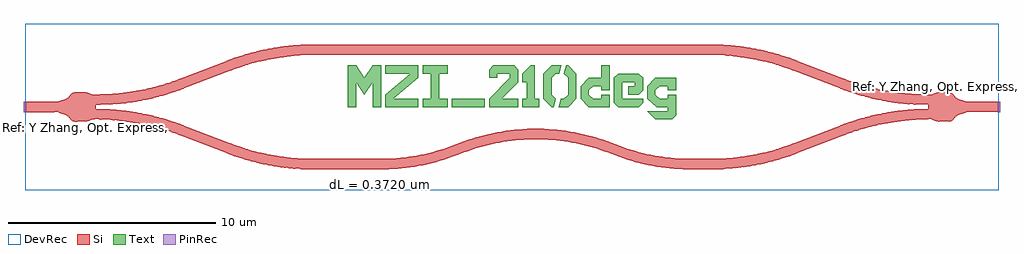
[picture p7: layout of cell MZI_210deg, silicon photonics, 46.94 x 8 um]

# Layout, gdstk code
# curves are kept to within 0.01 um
import gdstk
lib = gdstk.Library(unit=1e-6, precision=1e-09)
def R(c, l, rs):  # rectangles x0, y0, x1, y1
    for r in rs: c.add(gdstk.rectangle(r[:2], r[2:], *l))
def P(c, l, *ps):  # polygons
    for p in ps: c.add(gdstk.Polygon(p, *l))
Si = (1, 0)
PinRec = (1, 10)
Text = (10, 0)
DevRec = (68, 0)

optical_port1 = lib.new_cell('optical_port1')
optical_port1.add(gdstk.FlexPath([(0.05,0),(-0.05,0)], 0.5, ends="flush", simple_path=True, layer=1, datatype=10))  # PinRec
optical_port1.add(gdstk.FlexPath([(0.05,0),(-0.05,0)], 0.5, ends="flush", simple_path=True, layer=1, datatype=10))  # PinRec
optical_port1.add(gdstk.FlexPath([(0.05,0),(-0.05,0)], 0.5, ends="flush", simple_path=True, layer=1, datatype=10))  # PinRec
optical_port1.add(gdstk.FlexPath([(0.05,0),(-0.05,0)], 0.5, ends="flush", simple_path=True, layer=1, datatype=10))  # PinRec
optical_port1.add(gdstk.FlexPath([(0.05,0),(-0.05,0)], 0.5, ends="flush", simple_path=True, layer=1, datatype=10))  # PinRec
optical_port1.add(gdstk.FlexPath([(0.05,0),(-0.05,0)], 0.5, ends="flush", simple_path=True, layer=1, datatype=10))  # PinRec
optical_port1.add(gdstk.FlexPath([(0.05,0),(-0.05,0)], 0.5, ends="flush", simple_path=True, layer=1, datatype=10))  # PinRec
optical_port1.add(gdstk.FlexPath([(0.05,0),(-0.05,0)], 0.5, ends="flush", simple_path=True, layer=1, datatype=10))  # PinRec
optical_port1.add(gdstk.FlexPath([(0.05,0),(-0.05,0)], 0.5, ends="flush", simple_path=True, layer=1, datatype=10))  # PinRec
optical_port1.add(gdstk.FlexPath([(0.05,0),(-0.05,0)], 0.5, ends="flush", simple_path=True, layer=1, datatype=10))  # PinRec
optical_port1.add(gdstk.FlexPath([(0.05,0),(-0.05,0)], 0.5, ends="flush", simple_path=True, layer=1, datatype=10))  # PinRec
optical_port1.add(gdstk.FlexPath([(0.05,0),(-0.05,0)], 0.5, ends="flush", simple_path=True, layer=1, datatype=10))  # PinRec
optical_port1.add(gdstk.FlexPath([(0.05,0),(-0.05,0)], 0.5, ends="flush", simple_path=True, layer=1, datatype=10))  # PinRec
optical_port1.add(gdstk.FlexPath([(0.05,0),(-0.05,0)], 0.5, ends="flush", simple_path=True, layer=1, datatype=10))  # PinRec
optical_port1.add(gdstk.FlexPath([(0.05,0),(-0.05,0)], 0.5, ends="flush", simple_path=True, layer=1, datatype=10))  # PinRec
optical_port1.add(gdstk.FlexPath([(0.05,0),(-0.05,0)], 0.5, ends="flush", simple_path=True, layer=1, datatype=10))  # PinRec
optical_port1.add(gdstk.FlexPath([(0.05,0),(-0.05,0)], 0.5, ends="flush", simple_path=True, layer=1, datatype=10))  # PinRec
optical_port1.add(gdstk.FlexPath([(0.05,0),(-0.05,0)], 0.5, ends="flush", simple_path=True, layer=1, datatype=10))  # PinRec
optical_port1.add(gdstk.FlexPath([(0.05,0),(-0.05,0)], 0.5, ends="flush", simple_path=True, layer=1, datatype=10))  # PinRec
optical_port1.add(gdstk.FlexPath([(0.05,0),(-0.05,0)], 0.5, ends="flush", simple_path=True, layer=1, datatype=10))  # PinRec
optical_port1.add(gdstk.FlexPath([(0.05,0),(-0.05,0)], 0.5, ends="flush", simple_path=True, layer=1, datatype=10))  # PinRec
optical_port1.add(gdstk.FlexPath([(0.05,0),(-0.05,0)], 0.5, ends="flush", simple_path=True, layer=1, datatype=10))  # PinRec
optical_port1.add(gdstk.FlexPath([(0.05,0),(-0.05,0)], 0.5, ends="flush", simple_path=True, layer=1, datatype=10))  # PinRec
optical_port1.add(gdstk.FlexPath([(0.05,0),(-0.05,0)], 0.5, ends="flush", simple_path=True, layer=1, datatype=10))  # PinRec
optical_port1.add(gdstk.FlexPath([(0.05,0),(-0.05,0)], 0.5, ends="flush", simple_path=True, layer=1, datatype=10))  # PinRec
optical_port1.add(gdstk.FlexPath([(0.05,0),(-0.05,0)], 0.5, ends="flush", simple_path=True, layer=1, datatype=10))  # PinRec
optical_port1.add(gdstk.FlexPath([(0.05,0),(-0.05,0)], 0.5, ends="flush", simple_path=True, layer=1, datatype=10))  # PinRec
optical_port1.add(gdstk.FlexPath([(0.05,0),(-0.05,0)], 0.5, ends="flush", simple_path=True, layer=1, datatype=10))  # PinRec
optical_port1.add(gdstk.FlexPath([(0.05,0),(-0.05,0)], 0.5, ends="flush", simple_path=True, layer=1, datatype=10))  # PinRec
optical_port1.add(gdstk.FlexPath([(0.05,0),(-0.05,0)], 0.5, ends="flush", simple_path=True, layer=1, datatype=10))  # PinRec
optical_port1.add(gdstk.FlexPath([(0.05,0),(-0.05,0)], 0.5, ends="flush", simple_path=True, layer=1, datatype=10))  # PinRec
optical_port1.add(gdstk.FlexPath([(0.05,0),(-0.05,0)], 0.5, ends="flush", simple_path=True, layer=1, datatype=10))  # PinRec
optical_port1.add(gdstk.FlexPath([(0.05,0),(-0.05,0)], 0.5, ends="flush", simple_path=True, layer=1, datatype=10))  # PinRec
optical_port1.add(gdstk.FlexPath([(0.05,0),(-0.05,0)], 0.5, ends="flush", simple_path=True, layer=1, datatype=10))  # PinRec
optical_port1.add(gdstk.FlexPath([(0.05,0),(-0.05,0)], 0.5, ends="flush", simple_path=True, layer=1, datatype=10))  # PinRec
optical_port1.add(gdstk.FlexPath([(0.05,0),(-0.05,0)], 0.5, ends="flush", simple_path=True, layer=1, datatype=10))  # PinRec
optical_port1.add(gdstk.FlexPath([(0.05,0),(-0.05,0)], 0.5, ends="flush", simple_path=True, layer=1, datatype=10))  # PinRec
optical_port1.add(gdstk.Label('o1', (0,0), layer=1, texttype=10))
optical_port1.add(gdstk.Label('o1', (0,0), layer=1, texttype=10))
optical_port1.add(gdstk.Label('o1', (0,0), layer=1, texttype=10))
optical_port1.add(gdstk.Label('o1', (0,0), layer=1, texttype=10))
optical_port1.add(gdstk.Label('o1', (0,0), layer=1, texttype=10))
optical_port1.add(gdstk.Label('o1', (0,0), layer=1, texttype=10))
optical_port1.add(gdstk.Label('o1', (0,0), layer=1, texttype=10))
optical_port1.add(gdstk.Label('o1', (0,0), layer=1, texttype=10))
optical_port1.add(gdstk.Label('o1', (0,0), layer=1, texttype=10))
optical_port1.add(gdstk.Label('o1', (0,0), layer=1, texttype=10))
optical_port1.add(gdstk.Label('o1', (0,0), layer=1, texttype=10))
optical_port1.add(gdstk.Label('o1', (0,0), layer=1, texttype=10))
optical_port1.add(gdstk.Label('o1', (0,0), layer=1, texttype=10))
optical_port1.add(gdstk.Label('o1', (0,0), layer=1, texttype=10))
optical_port1.add(gdstk.Label('o1', (0,0), layer=1, texttype=10))
optical_port1.add(gdstk.Label('o1', (0,0), layer=1, texttype=10))
optical_port1.add(gdstk.Label('o1', (0,0), layer=1, texttype=10))
optical_port1.add(gdstk.Label('o1', (0,0), layer=1, texttype=10))
optical_port1.add(gdstk.Label('o1', (0,0), layer=1, texttype=10))
optical_port1.add(gdstk.Label('o1', (0,0), layer=1, texttype=10))
optical_port1.add(gdstk.Label('o1', (0,0), layer=1, texttype=10))
optical_port1.add(gdstk.Label('o1', (0,0), layer=1, texttype=10))
optical_port1.add(gdstk.Label('o1', (0,0), layer=1, texttype=10))
optical_port1.add(gdstk.Label('o1', (0,0), layer=1, texttype=10))
optical_port1.add(gdstk.Label('o1', (0,0), layer=1, texttype=10))
optical_port1.add(gdstk.Label('o1', (0,0), layer=1, texttype=10))
optical_port1.add(gdstk.Label('o1', (0,0), layer=1, texttype=10))
optical_port1.add(gdstk.Label('o1', (0,0), layer=1, texttype=10))
optical_port1.add(gdstk.Label('o1', (0,0), layer=1, texttype=10))
optical_port1.add(gdstk.Label('o1', (0,0), layer=1, texttype=10))
optical_port1.add(gdstk.Label('o1', (0,0), layer=1, texttype=10))
optical_port1.add(gdstk.Label('o1', (0,0), layer=1, texttype=10))
optical_port1.add(gdstk.Label('o1', (0,0), layer=1, texttype=10))
optical_port1.add(gdstk.Label('o1', (0,0), layer=1, texttype=10))
optical_port1.add(gdstk.Label('o1', (0,0), layer=1, texttype=10))
optical_port1.add(gdstk.Label('o1', (0,0), layer=1, texttype=10))
optical_port1.add(gdstk.Label('o1', (0,0), layer=1, texttype=10))

optical_port2 = lib.new_cell('optical_port2')
optical_port2.add(gdstk.FlexPath([(-0.05,0),(0.05,0)], 0.5, ends="flush", simple_path=True, layer=1, datatype=10))  # PinRec
optical_port2.add(gdstk.FlexPath([(-0.05,0),(0.05,0)], 0.5, ends="flush", simple_path=True, layer=1, datatype=10))  # PinRec
optical_port2.add(gdstk.FlexPath([(-0.05,0),(0.05,0)], 0.5, ends="flush", simple_path=True, layer=1, datatype=10))  # PinRec
optical_port2.add(gdstk.FlexPath([(-0.05,0),(0.05,0)], 0.5, ends="flush", simple_path=True, layer=1, datatype=10))  # PinRec
optical_port2.add(gdstk.FlexPath([(-0.05,0),(0.05,0)], 0.5, ends="flush", simple_path=True, layer=1, datatype=10))  # PinRec
optical_port2.add(gdstk.FlexPath([(-0.05,0),(0.05,0)], 0.5, ends="flush", simple_path=True, layer=1, datatype=10))  # PinRec
optical_port2.add(gdstk.FlexPath([(-0.05,0),(0.05,0)], 0.5, ends="flush", simple_path=True, layer=1, datatype=10))  # PinRec
optical_port2.add(gdstk.FlexPath([(-0.05,0),(0.05,0)], 0.5, ends="flush", simple_path=True, layer=1, datatype=10))  # PinRec
optical_port2.add(gdstk.FlexPath([(-0.05,0),(0.05,0)], 0.5, ends="flush", simple_path=True, layer=1, datatype=10))  # PinRec
optical_port2.add(gdstk.FlexPath([(-0.05,0),(0.05,0)], 0.5, ends="flush", simple_path=True, layer=1, datatype=10))  # PinRec
optical_port2.add(gdstk.FlexPath([(-0.05,0),(0.05,0)], 0.5, ends="flush", simple_path=True, layer=1, datatype=10))  # PinRec
optical_port2.add(gdstk.FlexPath([(-0.05,0),(0.05,0)], 0.5, ends="flush", simple_path=True, layer=1, datatype=10))  # PinRec
optical_port2.add(gdstk.FlexPath([(-0.05,0),(0.05,0)], 0.5, ends="flush", simple_path=True, layer=1, datatype=10))  # PinRec
optical_port2.add(gdstk.FlexPath([(-0.05,0),(0.05,0)], 0.5, ends="flush", simple_path=True, layer=1, datatype=10))  # PinRec
optical_port2.add(gdstk.FlexPath([(-0.05,0),(0.05,0)], 0.5, ends="flush", simple_path=True, layer=1, datatype=10))  # PinRec
optical_port2.add(gdstk.FlexPath([(-0.05,0),(0.05,0)], 0.5, ends="flush", simple_path=True, layer=1, datatype=10))  # PinRec
optical_port2.add(gdstk.FlexPath([(-0.05,0),(0.05,0)], 0.5, ends="flush", simple_path=True, layer=1, datatype=10))  # PinRec
optical_port2.add(gdstk.FlexPath([(-0.05,0),(0.05,0)], 0.5, ends="flush", simple_path=True, layer=1, datatype=10))  # PinRec
optical_port2.add(gdstk.FlexPath([(-0.05,0),(0.05,0)], 0.5, ends="flush", simple_path=True, layer=1, datatype=10))  # PinRec
optical_port2.add(gdstk.FlexPath([(-0.05,0),(0.05,0)], 0.5, ends="flush", simple_path=True, layer=1, datatype=10))  # PinRec
optical_port2.add(gdstk.FlexPath([(-0.05,0),(0.05,0)], 0.5, ends="flush", simple_path=True, layer=1, datatype=10))  # PinRec
optical_port2.add(gdstk.FlexPath([(-0.05,0),(0.05,0)], 0.5, ends="flush", simple_path=True, layer=1, datatype=10))  # PinRec
optical_port2.add(gdstk.FlexPath([(-0.05,0),(0.05,0)], 0.5, ends="flush", simple_path=True, layer=1, datatype=10))  # PinRec
optical_port2.add(gdstk.FlexPath([(-0.05,0),(0.05,0)], 0.5, ends="flush", simple_path=True, layer=1, datatype=10))  # PinRec
optical_port2.add(gdstk.FlexPath([(-0.05,0),(0.05,0)], 0.5, ends="flush", simple_path=True, layer=1, datatype=10))  # PinRec
optical_port2.add(gdstk.FlexPath([(-0.05,0),(0.05,0)], 0.5, ends="flush", simple_path=True, layer=1, datatype=10))  # PinRec
optical_port2.add(gdstk.FlexPath([(-0.05,0),(0.05,0)], 0.5, ends="flush", simple_path=True, layer=1, datatype=10))  # PinRec
optical_port2.add(gdstk.FlexPath([(-0.05,0),(0.05,0)], 0.5, ends="flush", simple_path=True, layer=1, datatype=10))  # PinRec
optical_port2.add(gdstk.FlexPath([(-0.05,0),(0.05,0)], 0.5, ends="flush", simple_path=True, layer=1, datatype=10))  # PinRec
optical_port2.add(gdstk.FlexPath([(-0.05,0),(0.05,0)], 0.5, ends="flush", simple_path=True, layer=1, datatype=10))  # PinRec
optical_port2.add(gdstk.FlexPath([(-0.05,0),(0.05,0)], 0.5, ends="flush", simple_path=True, layer=1, datatype=10))  # PinRec
optical_port2.add(gdstk.FlexPath([(-0.05,0),(0.05,0)], 0.5, ends="flush", simple_path=True, layer=1, datatype=10))  # PinRec
optical_port2.add(gdstk.FlexPath([(-0.05,0),(0.05,0)], 0.5, ends="flush", simple_path=True, layer=1, datatype=10))  # PinRec
optical_port2.add(gdstk.FlexPath([(-0.05,0),(0.05,0)], 0.5, ends="flush", simple_path=True, layer=1, datatype=10))  # PinRec
optical_port2.add(gdstk.FlexPath([(-0.05,0),(0.05,0)], 0.5, ends="flush", simple_path=True, layer=1, datatype=10))  # PinRec
optical_port2.add(gdstk.FlexPath([(-0.05,0),(0.05,0)], 0.5, ends="flush", simple_path=True, layer=1, datatype=10))  # PinRec
optical_port2.add(gdstk.FlexPath([(-0.05,0),(0.05,0)], 0.5, ends="flush", simple_path=True, layer=1, datatype=10))  # PinRec
optical_port2.add(gdstk.Label('o2', (0,0), layer=1, texttype=10))
optical_port2.add(gdstk.Label('o2', (0,0), layer=1, texttype=10))
optical_port2.add(gdstk.Label('o2', (0,0), layer=1, texttype=10))
optical_port2.add(gdstk.Label('o2', (0,0), layer=1, texttype=10))
optical_port2.add(gdstk.Label('o2', (0,0), layer=1, texttype=10))
optical_port2.add(gdstk.Label('o2', (0,0), layer=1, texttype=10))
optical_port2.add(gdstk.Label('o2', (0,0), layer=1, texttype=10))
optical_port2.add(gdstk.Label('o2', (0,0), layer=1, texttype=10))
optical_port2.add(gdstk.Label('o2', (0,0), layer=1, texttype=10))
optical_port2.add(gdstk.Label('o2', (0,0), layer=1, texttype=10))
optical_port2.add(gdstk.Label('o2', (0,0), layer=1, texttype=10))
optical_port2.add(gdstk.Label('o2', (0,0), layer=1, texttype=10))
optical_port2.add(gdstk.Label('o2', (0,0), layer=1, texttype=10))
optical_port2.add(gdstk.Label('o2', (0,0), layer=1, texttype=10))
optical_port2.add(gdstk.Label('o2', (0,0), layer=1, texttype=10))
optical_port2.add(gdstk.Label('o2', (0,0), layer=1, texttype=10))
optical_port2.add(gdstk.Label('o2', (0,0), layer=1, texttype=10))
optical_port2.add(gdstk.Label('o2', (0,0), layer=1, texttype=10))
optical_port2.add(gdstk.Label('o2', (0,0), layer=1, texttype=10))
optical_port2.add(gdstk.Label('o2', (0,0), layer=1, texttype=10))
optical_port2.add(gdstk.Label('o2', (0,0), layer=1, texttype=10))
optical_port2.add(gdstk.Label('o2', (0,0), layer=1, texttype=10))
optical_port2.add(gdstk.Label('o2', (0,0), layer=1, texttype=10))
optical_port2.add(gdstk.Label('o2', (0,0), layer=1, texttype=10))
optical_port2.add(gdstk.Label('o2', (0,0), layer=1, texttype=10))
optical_port2.add(gdstk.Label('o2', (0,0), layer=1, texttype=10))
optical_port2.add(gdstk.Label('o2', (0,0), layer=1, texttype=10))
optical_port2.add(gdstk.Label('o2', (0,0), layer=1, texttype=10))
optical_port2.add(gdstk.Label('o2', (0,0), layer=1, texttype=10))
optical_port2.add(gdstk.Label('o2', (0,0), layer=1, texttype=10))
optical_port2.add(gdstk.Label('o2', (0,0), layer=1, texttype=10))
optical_port2.add(gdstk.Label('o2', (0,0), layer=1, texttype=10))
optical_port2.add(gdstk.Label('o2', (0,0), layer=1, texttype=10))
optical_port2.add(gdstk.Label('o2', (0,0), layer=1, texttype=10))
optical_port2.add(gdstk.Label('o2', (0,0), layer=1, texttype=10))
optical_port2.add(gdstk.Label('o2', (0,0), layer=1, texttype=10))
optical_port2.add(gdstk.Label('o2', (0,0), layer=1, texttype=10))

text_tmzi_210deg_s2_p16_ = lib.new_cell('text_TMZI_210deg_S2_P16_3aeae46f')
R(text_tmzi_210deg_s2_p16_, Text, [(13.12,0,14.72,0.4)])
P(text_tmzi_210deg_s2_p16_, Text, [(22.92,-0.6),(22.52,-0.2),(23.52,-0.2),(23.52,0),(22.988,0),(22.52,0.4),(22.52,1),(22.92,1.4),(23.92,1.4),(23.92,0.8),(23.52,0.8),(23.52,1),(23.12,1),(22.92,0.8),(22.92,0.6),(23.12,0.4),(23.52,0.4),(23.52,0.6),(23.92,0.6),(23.92,-0.4),(23.72,-0.6)],
  [(21.12,0),(20.92,0.2),(20.92,1.4),(21.12,1.6),(22.12,1.6),(22.32,1.4),(22.32,0.8),(22.12,0.6),(21.6,0.6),(21.6,1),(21.92,1),(21.92,1.2),(21.32,1.2),(21.32,0.4),(22.32,0.4),(22.32,0.2),(22.12,0)],
  [(8.12,0),(8.12,2),(8.52,2),(8.92,1.4),(9.32,2),(9.72,2),(9.72,0),(9.32,0),(9.32,1.2),(8.92,0.6),(8.52,1.2),(8.52,0)],
  [(9.92,0),(9.92,0.6),(11.12,1.6),(9.92,1.6),(9.92,2),(11.52,2),(11.52,1.4),(10.32,0.4),(11.52,0.4),(11.52,0)],
  [(11.72,0),(11.72,0.4),(12.12,0.4),(12.12,1.6),(11.72,1.6),(11.72,2),(12.92,2),(12.92,1.6),(12.52,1.6),(12.52,0.4),(12.92,0.4),(12.92,0)],
  [(14.92,0),(14.92,0.4),(15.92,1.4),(15.92,1.6),(15.32,1.6),(15.32,1.4),(14.92,1.4),(14.92,1.8),(15.12,2),(16.12,2),(16.32,1.8),(16.32,1.2),(15.52,0.4),(16.32,0.4),(16.32,0)],
  [(16.52,0),(16.52,0.4),(16.72,0.4),(16.72,1.2),(16.52,1.2),(16.52,1.6),(16.92,2),(17.12,2),(17.12,0.4),(17.32,0.4),(17.32,0)],
  [(17.92,0),(17.52,0.4),(17.52,1.6),(17.92,2),(18.38,2),(18.28,1.6),(18.12,1.6),(17.92,1.4),(17.92,0.6),(18.12,0.4),(18.02,0)],
  [(18.26,0),(18.36,0.4),(18.52,0.4),(18.72,0.6),(18.72,1.4),(18.52,1.6),(18.62,2),(18.72,2),(19.12,1.6),(19.12,0.4),(18.72,0)],
  [(19.72,0),(19.32,0.4),(19.32,1),(19.72,1.4),(20.32,1.4),(20.32,2),(20.72,2),(20.72,0.8),(20.32,0.8),(20.32,1),(19.92,1),(19.72,0.8),(19.72,0.6),(19.92,0.4),(20.32,0.4),(20.32,0.6),(20.72,0.6),(20.72,0)])

mzi_210deg = lib.new_cell('MZI_210deg')
P(mzi_210deg, Si, [(6.458,-3),(5.718,-2.974),(4.993,-2.903),(4.257,-2.784),(3.509,-2.613),(3.017,-2.472),(2.491,-2.295),(-0.369,-1.202),(-1.123,-0.974),(-1.826,-0.812),(-2.677,-0.678),(-3.601,-0.607),(-4.123,-0.595),(-4.492,-0.699),(-4.991,-0.701),(-5.077,-0.683),(-5.145,-0.647),(-5.344,-0.44),(-5.434,-0.378),(-5.833,-0.25),(-7.4,-0.25),(-7.4,0.25),(-5.833,0.25),(-5.434,0.378),(-5.344,0.44),(-5.145,0.647),(-5.077,0.683),(-4.991,0.701),(-4.492,0.699),(-4.123,0.595),(-3.501,0.611),(-2.619,0.685),(-1.693,0.839),(-0.976,1.014),(-0.334,1.214),(2.412,2.266),(3.102,2.498),(3.59,2.634),(4.147,2.762),(4.757,2.87),(5.294,2.938),(5.868,2.983),(6.458,3),(25.581,3),(26.446,2.965),(27.046,2.903),(27.644,2.81),(28.229,2.688),(28.819,2.533),(29.627,2.266),(32.373,1.214),(33.015,1.014),(33.732,0.839),(34.658,0.685),(35.54,0.611),(36.162,0.595),(36.531,0.699),(37.03,0.701),(37.116,0.683),(37.184,0.647),(37.383,0.44),(37.473,0.378),(37.872,0.25),(39.439,0.25),(39.439,-0.25),(37.872,-0.25),(37.473,-0.378),(37.383,-0.44),(37.184,-0.647),(37.116,-0.683),(37.03,-0.701),(36.531,-0.699),(36.162,-0.595),(35.497,-0.613),(35.033,-0.645),(34.542,-0.7),(33.616,-0.864),(33.015,-1.014),(32.324,-1.231),(29.276,-2.39),(28.605,-2.593),(27.974,-2.745),(27.158,-2.888),(26.225,-2.98),(25.581,-3),(24.432,-2.998),(24.019,-2.981),(23.197,-2.898),(22.384,-2.749),(21.586,-2.535),(20.808,-2.257),(20.995,-1.793),(21.735,-2.058),(22.303,-2.216),(22.88,-2.34),(23.658,-2.451),(24.442,-2.498),(25.695,-2.499),(26.347,-2.471),(26.92,-2.415),(27.436,-2.339),(27.953,-2.238),(28.416,-2.126),(28.964,-1.966),(29.523,-1.771),(32.008,-0.813),(32.864,-0.537),(33.604,-0.355),(34.42,-0.212),(35.199,-0.13),(36.039,-0.1),(36.039,0.1),(35.304,0.123),(34.603,0.188),(33.934,0.29),(33.253,0.435),(32.651,0.599),(32.125,0.771),(29.507,1.777),(28.757,2.03),(28.24,2.171),(27.625,2.305),(27.006,2.404),(26.414,2.466),(25.583,2.5),(6.456,2.5),(5.9,2.484),(5.368,2.443),(4.814,2.373),(4.256,2.274),(3.731,2.154),(3.18,1.999),(2.516,1.771),(0.031,0.813),(-0.422,0.658),(-0.934,0.507),(-1.757,0.316),(-2.493,0.197),(-3.249,0.124),(-4,0.1),(-4,-0.1),(-3.265,-0.123),(-2.564,-0.188),(-1.895,-0.29),(-1.214,-0.435),(-0.612,-0.599),(-0.086,-0.771),(2.532,-1.777),(3.336,-2.046),(3.962,-2.21),(4.54,-2.328),(5.119,-2.415),(5.692,-2.471),(6.456,-2.5),(9.688,-2.5),(10.277,-2.482),(10.865,-2.429),(11.64,-2.303),(12.404,-2.114),(12.965,-1.933),(13.718,-1.646),(14.11,-1.515),(14.908,-1.301),(15.721,-1.152),(16.337,-1.083),(16.75,-1.058),(17.37,-1.052),(17.989,-1.083),(18.605,-1.152),(19.013,-1.218),(19.418,-1.301),(20.018,-1.456),(20.608,-1.646),(20.994,-1.793),(20.807,-2.257),(20.254,-2.053),(19.689,-1.883),(19.115,-1.747),(18.534,-1.647),(17.948,-1.582),(17.36,-1.552),(16.966,-1.552),(16.378,-1.582),(15.597,-1.677),(14.827,-1.834),(14.072,-2.053),(13.133,-2.404),(12.543,-2.594),(11.943,-2.749),(11.13,-2.898),(10.514,-2.967),(9.895,-2.998)])
R(mzi_210deg, DevRec, [(-7.4,-4,39.439,4)])
mzi_210deg.add(gdstk.Reference(optical_port1, (-7.4,0)))
mzi_210deg.add(gdstk.Reference(optical_port2, (39.439,0)))
mzi_210deg.add(gdstk.Reference(text_tmzi_210deg_s2_p16_, (0,0)))
mzi_210deg.add(gdstk.Label('Ref: Y Zhang, Opt. Express, 21/1, 2013', (-5.65,-1), layer=10, texttype=0))
mzi_210deg.add(gdstk.Label('Ref: Y Zhang, Opt. Express, 21/1, 2013', (37.689,1), layer=10, texttype=0))
mzi_210deg.add(gdstk.Label('dL = 0.3720 um', (9.689,-3.75), layer=10, texttype=0))

lib.write_gds('MZI_210deg.gds')
